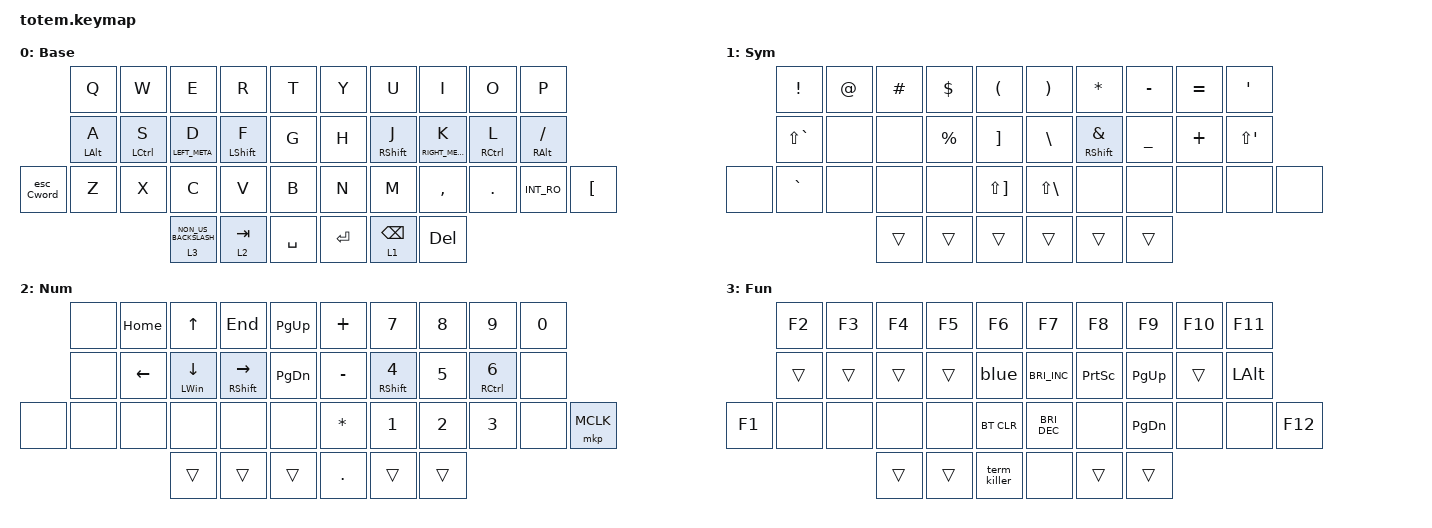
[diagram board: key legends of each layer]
#include <behaviors.dtsi>
#include <dt-bindings/zmk/bt.h>
#include <dt-bindings/zmk/keys.h>
#include <dt-bindings/zmk/pointing.h>

/ {
    macros {
        terminator: terminator {
            compatible = "zmk,behavior-macro";
            #binding-cells = <0>;
            bindings =
                <&macro_press>,
                <&kp LEFT_ALT &kp PRINTSCREEN>,
                <&macro_tap>,
                <&kp E>,
                <&macro_release>,
                <&kp LEFT_ALT &kp PRINTSCREEN>;

            label = "TERMINATOR";
        };

        killer: killer {
            compatible = "zmk,behavior-macro";
            #binding-cells = <0>;
            bindings =
                <&macro_press>,
                <&kp LEFT_ALT &kp PRINTSCREEN>,
                <&macro_tap>,
                <&kp I>,
                <&macro_release>,
                <&kp LEFT_ALT &kp PRINTSCREEN>;

            label = "KILLER";
        };
    };

    behaviors {
        term_killer: term_killer {
            compatible = "zmk,behavior-mod-morph";
            label = "TERM_KILLER";
            bindings = <&terminator>, <&killer>;

            #binding-cells = <0>;
            mods = <(MOD_LSFT)>;
        };

        esc_caps: esc_caps {
            compatible = "zmk,behavior-tap-dance";
            label = "ESC_CAPS";
            #binding-cells = <0>;
            bindings = <&kp ESC>, <&kp CAPS>;

            tapping-term-ms = <240>;
        };

        esc_Cword: esc_Cword {
            compatible = "zmk,behavior-mod-morph";
            label = "ESC_CWORD";
            bindings = <&esc_caps>, <&caps_word>;

            #binding-cells = <0>;
            mods = <(MOD_LSFT|MOD_RSFT)>;
        };

        blue: blue {
            compatible = "zmk,behavior-tap-dance";
            label = "BLUE";
            #binding-cells = <0>;
            tapping-term-ms = <200>;
            bindings = <&bt BT_SEL 0>, <&bt BT_SEL 1>, <&bt BT_SEL 2>;
        };

        hml: hml {
            compatible = "zmk,behavior-hold-tap";
            label = "HML";
            bindings = <&kp>, <&kp>;

            #binding-cells = <2>;
            tapping-term-ms = <280>;
            quick-tap-ms = <185>;
            require-prior-idle-ms = <150>;
            flavor = "balanced";
            hold-trigger-on-release;
            hold-trigger-key-positions = <5 6 7 8 9 15 16 17 18 19 26 27 28 29 30 31 35 36 37 32 33 34>;
        };

        hmr: hmr {
            compatible = "zmk,behavior-hold-tap";
            label = "HMR";
            bindings = <&kp>, <&kp>;

            #binding-cells = <2>;
            tapping-term-ms = <280>;
            quick-tap-ms = <185>;
            require-prior-idle-ms = <150>;
            flavor = "balanced";
            hold-trigger-on-release;
            hold-trigger-key-positions = <0 1 2 3 4 10 11 12 13 14 20 21 22 23 24 25 32 33 34 35 36 37>;
        };

        lt_custom: lt_custom {
            compatible = "zmk,behavior-hold-tap";
            label = "LT_CUSTOM";
            bindings = <&mo>, <&kp>;

            #binding-cells = <2>;
            tapping-term-ms = <250>;
            quick-tap-ms = <185>;
            flavor = "tap-preferred";
        };

        new_behavior: new_behavior {
            compatible = "zmk,behavior-mouse-key-press";
            label = "NEW_BEHAVIOR";
            #binding-cells = <1>;
        };
    };

    keymap {
        compatible = "zmk,keymap";

        Base {
            bindings = <
            &kp Q            &kp W                &kp E                   &kp R              &kp T        &kp Y      &kp U                   &kp I              &kp O                 &kp P
            &hml LEFT_ALT A  &hml LEFT_CONTROL S  &hml LEFT_META D        &hml LEFT_SHIFT F  &kp G        &kp H      &hmr RIGHT_SHIFT J      &hmr RIGHT_META K  &hmr RIGHT_CONTROL L  &hmr RIGHT_ALT SLASH
&esc_Cword  &kp Z            &kp X                &kp C                   &kp V              &kp B        &kp N      &kp M                   &kp COMMA          &kp PERIOD            &kp INT_RO            &kp LEFT_BRACKET
                                                  &lt 3 NON_US_BACKSLASH  &lt 2 TAB          &kp SPACE    &kp ENTER  &lt_custom 1 BACKSPACE  &kp DELETE
            >;
        };

        Sym {
            bindings = <
       &kp EXCL       &kp AT  &kp HASH  &kp DLLR   &kp LEFT_PARENTHESIS     &kp RIGHT_PARENTHESIS  &kp STAR              &kp MINUS  &kp EQUAL  &kp SQT
       &kp LS(GRAVE)  &none   &none     &kp PRCNT  &kp RBKT                 &kp BSLH               &mt RIGHT_SHIFT AMPS  &kp UNDER  &kp PLUS   &kp LS(APOS)
&none  &kp GRAVE      &none   &none     &none      &kp LS(RIGHT_BRACKET)    &kp LS(BSLH)           &none                 &none      &none      &none         &none
                              &trans    &trans     &trans                   &trans                 &trans                &trans
            >;
        };

        Num {
            bindings = <
       &none  &kp HOME  &kp UP              &kp END                       &kp PAGE_UP      &kp PLUS      &kp N7                    &kp N8  &kp N9                 &kp N0
       &none  &kp LEFT  &hml LEFT_WIN DOWN  &hml RIGHT_SHIFT RIGHT_ARROW  &kp PAGE_DOWN    &kp MINUS     &mt RIGHT_SHIFT NUMBER_4  &kp N5  &hmr RIGHT_CONTROL N6  &none
&none  &none  &none     &none               &none                         &none            &kp ASTERISK  &kp N1                    &kp N2  &kp N3                 &none   &mkp MCLK
                        &trans              &trans                        &trans           &kp DOT       &trans                    &trans
            >;
        };

        Fun {
            bindings = <
        &kp F2  &kp F3  &kp F4  &kp F5  &kp F6          &kp F7                &kp F8     &kp F9         &kp F10  &kp F11
        &trans  &trans  &trans  &trans  &blue           &kp C_BRI_INC         &kp PSCRN  &kp PAGE_UP    &trans   &kp LEFT_ALT
&kp F1  &none   &none   &none   &none   &bt BT_CLR      &kp C_BRIGHTNESS_DEC  &none      &kp PAGE_DOWN  &none    &none         &kp F12
                        &trans  &trans  &term_killer    &none                 &trans     &trans
            >;
        };
    };
};
